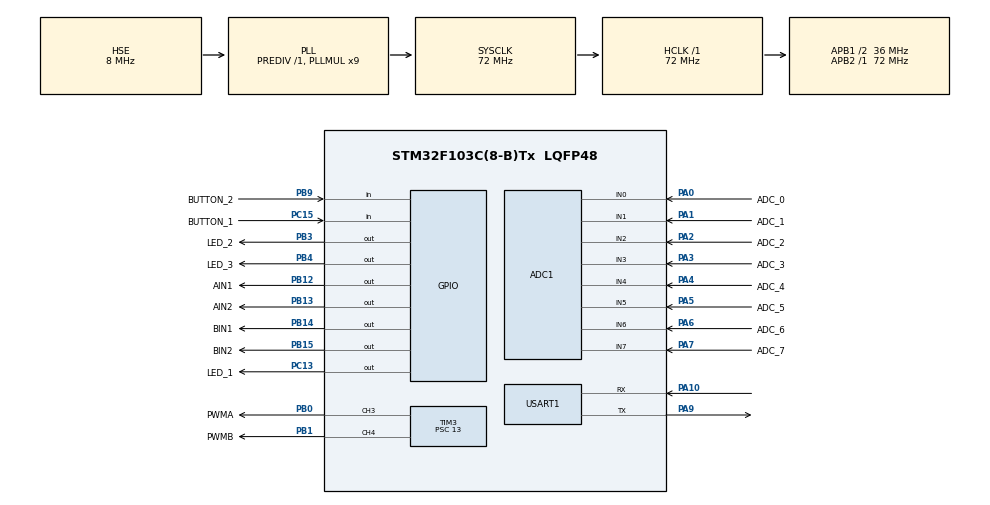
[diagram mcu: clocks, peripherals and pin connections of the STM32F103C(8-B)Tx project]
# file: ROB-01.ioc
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ADC1.Channel-0\#ChannelRegularConversion=ADC_CHANNEL_0
ADC1.ContinuousConvMode=DISABLE
ADC1.NbrOfConversion=1
ADC1.NbrOfConversionFlag=1
ADC1.Rank-0\#ChannelRegularConversion=1
ADC1.SamplingTime-0\#ChannelRegularConversion=ADC_SAMPLETIME_55CYCLES_5
ADC1.master=1
Mcu.Family=STM32F1
Mcu.Name=STM32F103C(8-B)Tx
Mcu.Package=LQFP48
NVIC.PriorityGroup=NVIC_PRIORITYGROUP_4
PA0-WKUP.GPIO_Label=ADC_0
PA0-WKUP.Signal=ADCx_IN0
PA1.GPIO_Label=ADC_1
PA1.Signal=ADCx_IN1
PA10.Mode=Asynchronous
PA10.Signal=USART1_RX
PA13.Mode=Serial_Wire
PA13.Signal=SYS_JTMS-SWDIO
PA14.Mode=Serial_Wire
PA14.Signal=SYS_JTCK-SWCLK
PA2.GPIO_Label=ADC_2
PA2.Signal=ADCx_IN2
PA3.GPIO_Label=ADC_3
PA3.Signal=ADCx_IN3
PA4.GPIO_Label=ADC_4
PA4.Signal=ADCx_IN4
PA5.GPIO_Label=ADC_5
PA5.Signal=ADCx_IN5
PA6.GPIO_Label=ADC_6
PA6.Signal=ADCx_IN6
PA7.GPIO_Label=ADC_7
PA7.Signal=ADCx_IN7
PA9.Mode=Asynchronous
PA9.Signal=USART1_TX
PB0.GPIO_Label=PWMA
PB0.Signal=S_TIM3_CH3
PB1.GPIO_Label=PWMB
PB1.Signal=S_TIM3_CH4
PB12.GPIO_Label=AIN1
PB12.Signal=GPIO_Output
PB13.GPIO_Label=AIN2
PB13.Signal=GPIO_Output
PB14.GPIO_Label=BIN1
PB14.Signal=GPIO_Output
PB15.GPIO_Label=BIN2
PB15.Signal=GPIO_Output
PB3.GPIO_Label=LED_2
PB3.Signal=GPIO_Output
PB4.GPIO_Label=LED_3
PB4.Signal=GPIO_Output
PB9.GPIO_Label=BUTTON_2
PB9.GPIO_PuPd=GPIO_PULLUP
PB9.Signal=GPIO_Input
PC13-TAMPER-RTC.GPIO_Label=LED_1
PC13-TAMPER-RTC.Signal=GPIO_Output
PC15-OSC32_OUT.GPIO_Label=BUTTON_1
PC15-OSC32_OUT.GPIO_PuPd=GPIO_PULLUP
PC15-OSC32_OUT.Signal=GPIO_Input
PD0-OSC_IN.Mode=HSE-External-Oscillator
PD0-OSC_IN.Signal=RCC_OSC_IN
PD1-OSC_OUT.Mode=HSE-External-Oscillator
PD1-OSC_OUT.Signal=RCC_OSC_OUT
ProjectManager.HeapSize=0x200
ProjectManager.StackSize=0x400
ProjectManager.TargetToolchain=STM32CubeIDE
RCC.ADCPresc=RCC_ADCPCLK2_DIV6
RCC.AHBFreq_Value=72000000
RCC.APB1CLKDivider=RCC_HCLK_DIV2
RCC.APB1Freq_Value=36000000
RCC.APB1TimFreq_Value=72000000
RCC.APB2Freq_Value=72000000
RCC.APB2TimFreq_Value=72000000
RCC.HCLKFreq_Value=72000000
RCC.PLLMUL=RCC_PLL_MUL9
RCC.PLLSourceVirtual=RCC_PLLSOURCE_HSE
RCC.SYSCLKFreq_VALUE=72000000
RCC.SYSCLKSource=RCC_SYSCLKSOURCE_PLLCLK
RCC.USBFreq_Value=72000000
SH.ADCx_IN0.0=ADC1_IN0,IN0
SH.ADCx_IN1.0=ADC1_IN1,IN1
SH.ADCx_IN2.0=ADC1_IN2,IN2
SH.ADCx_IN3.0=ADC1_IN3,IN3
SH.ADCx_IN4.0=ADC1_IN4,IN4
SH.ADCx_IN5.0=ADC1_IN5,IN5
SH.ADCx_IN6.0=ADC1_IN6,IN6
SH.ADCx_IN7.0=ADC1_IN7,IN7
SH.S_TIM3_CH3.0=TIM3_CH3,PWM Generation3 CH3
SH.S_TIM3_CH4.0=TIM3_CH4,PWM Generation4 CH4
TIM3.Channel-PWM\ Generation3\ CH3=TIM_CHANNEL_3
TIM3.Channel-PWM\ Generation4\ CH4=TIM_CHANNEL_4
TIM3.Period=255
TIM3.Prescaler=13
USART1.VirtualMode=VM_ASYNC
board=custom

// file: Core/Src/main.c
/* USER CODE BEGIN Header */
/**
  ******************************************************************************
  * @file           : main.c
  * @brief          : Main program body
  ******************************************************************************
  * @attention
  *
  * Copyright (c) 2026 STMicroelectronics.
  * All rights reserved.
  *
  * This software is licensed under terms that can be found in the LICENSE file
  * in the root directory of this software component.
  * If no LICENSE file comes with this software, it is provided AS-IS.
  *
  ******************************************************************************
  */
/* USER CODE END Header */
#include "main.h"
#include "adc.h"
#include "tim.h"
#include "usart.h"
#include "gpio.h"
#include <stdbool.h>
#include <stdio.h>
#include <string.h>

void SystemClock_Config(void);

/* USER CODE BEGIN 0 */

/*
 * STRUCUTRE:
 * define MACROS
 * setup peripherals
 * read sensors values
 * PD control
 * handle error or finish
 */
extern UART_HandleTypeDef huart1;

#define NUM_SENSORS 8
#define NUM_SAMPLES 6
#define LINE_THRESHOLD 500
#define MIDDLE_POS 4500
#define Kp 0.01
#define Kd 0.2
#define SPEED 0
#define MAX_OUT_TIME_MS 10
#define OUT_OUTTER_SPEED 255
#define OUT_INNER_SPEED -255
#define FINISH_LINE_COUNT 6

uint16_t sensor_values[NUM_SENSORS];
const uint32_t adc_channels[NUM_SENSORS] = { ADC_CHANNEL_0, ADC_CHANNEL_1, ADC_CHANNEL_2, ADC_CHANNEL_3, ADC_CHANNEL_4, ADC_CHANNEL_5, ADC_CHANNEL_6, ADC_CHANNEL_7 };
uint16_t arr_max;
bool is_running = false;
uint32_t start_time;
uint32_t current_time;
uint32_t out_start_time;
uint32_t race_elapsed_time;
bool is_on_line = false;
int16_t error;
int16_t previous_error;
uint8_t last_detected_side;

// FUNCS

int __io_putchar(int ch);
uint16_t ADC_Read_Channel(uint32_t channel);
void get_raw_adc_values(void);
void read_adc_sensors(void);
uint16_t read_line(void);
void set_motors(int pwma_value, int pwmb_value);
bool at_finish_line(void);

/* USER CODE END 0 */

int main(void)
{

  /* MCU Configuration--------------------------------------------------------*/

  /* Reset of all peripherals, Initializes the Flash interface and the Systick. */
  HAL_Init();

  /* Configure the system clock */
  SystemClock_Config();

  /* Initialize all configured peripherals */
  MX_GPIO_Init();
  MX_ADC1_Init();
  MX_USART1_UART_Init();
  MX_TIM3_Init();

  /* Infinite loop */
  /* USER CODE BEGIN WHILE */
  HAL_ADCEx_Calibration_Start(&hadc1);
  HAL_TIM_PWM_Start(&htim3, TIM_CHANNEL_3);
  HAL_TIM_PWM_Start(&htim3, TIM_CHANNEL_4);
  arr_max = __HAL_TIM_GET_AUTORELOAD(&htim3); // e.g. 999

  // setup
  HAL_GPIO_WritePin(GPIOC, GPIO_PIN_13, GPIO_PIN_SET); // power led show mcu is on
  HAL_GPIO_WritePin(GPIOB, GPIO_PIN_3, GPIO_PIN_RESET);

  // start up sequence
  HAL_GPIO_WritePin(GPIOB, GPIO_PIN_4, GPIO_PIN_SET);
  HAL_Delay(1500);
  HAL_GPIO_WritePin(GPIOB, GPIO_PIN_4, GPIO_PIN_RESET);

  while(HAL_GPIO_ReadPin(GPIOC, GPIO_PIN_15)) {};

  HAL_Delay(250);

  // calibrate sensors
  HAL_GPIO_WritePin(GPIOB, GPIO_PIN_4, GPIO_PIN_SET);
  while(HAL_GPIO_ReadPin(GPIOC, GPIO_PIN_15)) {
	  HAL_GPIO_TogglePin(GPIOB, GPIO_PIN_4);
	  HAL_Delay(50);
	  //calibrate_sensors();
  };

  HAL_Delay(250);

  HAL_GPIO_WritePin(GPIOB, GPIO_PIN_3, GPIO_PIN_RESET);
  HAL_GPIO_WritePin(GPIOB, GPIO_PIN_4, GPIO_PIN_RESET);

  while(HAL_GPIO_ReadPin(GPIOC, GPIO_PIN_15)) {};

  is_running = true;
  start_time = HAL_GetTick();
  current_time = start_time;
  out_start_time = start_time;

  while (1)
  {

	  // run stright until reach starting point
	  uint32_t race_start_time = HAL_GetTick();
	  while(is_running){
		  HAL_GPIO_WritePin(GPIOB, GPIO_PIN_4, GPIO_PIN_SET);

		  current_time = HAL_GetTick();
		  race_elapsed_time = current_time - race_start_time;
		  uint16_t pos = read_line();

		  error = MIDDLE_POS - pos;
		  int16_t delta_error = error - previous_error;
		  previous_error = error;

		  if(is_on_line){
			  if(sensor_values[0] < LINE_THRESHOLD || sensor_values[1] < LINE_THRESHOLD){
				  last_detected_side = 0; // right side
			  } else if (sensor_values[NUM_SENSORS - 1] < LINE_THRESHOLD || sensor_values[NUM_SENSORS - 2] < LINE_THRESHOLD){
				  last_detected_side = 1;
			  }
			  if(at_finish_line() && race_elapsed_time > 1000){
			  	  is_running = false;
			  }

			  int P = error*Kp;
			  int D = delta_error*Kd;

			  int control_signal = P + D;

			  int pwma_value = SPEED + control_signal;
			  int pwmb_value = SPEED - control_signal;
			  printf("signal: %d | pwma: %d | pwmb: %d \r\n", control_signal, pwma_value, pwmb_value);

			  /*
			  if (pwma_value > 255) pwma_value = 255;
			  if (pwma_value < -255) pwma_value = -255;

			  if (pwmb_value > 255) pwmb_value = 255;
			  if (pwmb_value < -255) pwmb_value = -255;
			  */
			  set_motors(pwma_value, pwmb_value);
			  out_start_time = current_time;
		  } else { // out of line method
			  int out_elapsed_time = current_time - out_start_time;

			  if(out_elapsed_time >= MAX_OUT_TIME_MS){
				  is_running = false;
			  }
			  //  set motors in function of last detected side before out
			  if(last_detected_side == 0){ // TURN LEFT
				  set_motors(255, 0);
			  }else{ // TURN RIGHT
				  set_motors(0, 255);
			  }
		  }

	  }
	  set_motors(-255,-255);
	  HAL_GPIO_WritePin(GPIOB, GPIO_PIN_4, GPIO_PIN_RESET);
	  HAL_Delay(100);
	  set_motors(0,0);

	  HAL_Delay(1000);
	  while(1){
		  HAL_GPIO_WritePin(GPIOB, GPIO_PIN_3, GPIO_PIN_SET);
		  HAL_GPIO_WritePin(GPIOB, GPIO_PIN_4, GPIO_PIN_SET);
		  HAL_Delay(250);
		  HAL_GPIO_WritePin(GPIOB, GPIO_PIN_3, GPIO_PIN_RESET);
		  HAL_GPIO_WritePin(GPIOB, GPIO_PIN_4, GPIO_PIN_RESET);
		  HAL_Delay(1000);
	  }

    /* USER CODE END WHILE */

  }
}

void SystemClock_Config(void)
{
  RCC_OscInitTypeDef RCC_OscInitStruct = {0};
  RCC_ClkInitTypeDef RCC_ClkInitStruct = {0};
  RCC_PeriphCLKInitTypeDef PeriphClkInit = {0};

  /** Initializes the RCC Oscillators according to the specified parameters
  * in the RCC_OscInitTypeDef structure.
  */
  RCC_OscInitStruct.OscillatorType = RCC_OSCILLATORTYPE_HSE;
  RCC_OscInitStruct.HSEState = RCC_HSE_ON;
  RCC_OscInitStruct.HSEPredivValue = RCC_HSE_PREDIV_DIV1;
  RCC_OscInitStruct.HSIState = RCC_HSI_ON;
  RCC_OscInitStruct.PLL.PLLState = RCC_PLL_ON;
  RCC_OscInitStruct.PLL.PLLSource = RCC_PLLSOURCE_HSE;
  RCC_OscInitStruct.PLL.PLLMUL = RCC_PLL_MUL9;
  if (HAL_RCC_OscConfig(&RCC_OscInitStruct) != HAL_OK)
  {
    Error_Handler();
  }

  /** Initializes the CPU, AHB and APB buses clocks
  */
  RCC_ClkInitStruct.ClockType = RCC_CLOCKTYPE_HCLK|RCC_CLOCKTYPE_SYSCLK
                              |RCC_CLOCKTYPE_PCLK1|RCC_CLOCKTYPE_PCLK2;
  RCC_ClkInitStruct.SYSCLKSource = RCC_SYSCLKSOURCE_PLLCLK;
  RCC_ClkInitStruct.AHBCLKDivider = RCC_SYSCLK_DIV1;
  RCC_ClkInitStruct.APB1CLKDivider = RCC_HCLK_DIV2;
  RCC_ClkInitStruct.APB2CLKDivider = RCC_HCLK_DIV1;

  if (HAL_RCC_ClockConfig(&RCC_ClkInitStruct, FLASH_LATENCY_2) != HAL_OK)
  {
    Error_Handler();
  }
  PeriphClkInit.PeriphClockSelection = RCC_PERIPHCLK_ADC;
  PeriphClkInit.AdcClockSelection = RCC_ADCPCLK2_DIV6;
  if (HAL_RCCEx_PeriphCLKConfig(&PeriphClkInit) != HAL_OK)
  {
    Error_Handler();
  }
}

/* USER CODE BEGIN 4 */
int __io_putchar(int ch) {
	HAL_UART_Transmit(&huart1, (uint8_t *)&ch, 1U, 100U);
	return ch;
}
uint16_t ADC_Read_Channel(uint32_t channel)
{
    ADC_ChannelConfTypeDef sConfig = {0};

    sConfig.Channel = channel;
    sConfig.Rank = ADC_REGULAR_RANK_1;
    sConfig.SamplingTime = ADC_SAMPLETIME_55CYCLES_5;

    if (HAL_ADC_ConfigChannel(&hadc1, &sConfig) != HAL_OK) {
        Error_Handler();
    }

    HAL_ADC_Start(&hadc1);
    HAL_ADC_PollForConversion(&hadc1, 10);
    uint16_t adc_val = HAL_ADC_GetValue(&hadc1);
    HAL_ADC_Stop(&hadc1);

    return adc_val;
}
void get_raw_adc_values(void){
	for(uint8_t i = 0; i < NUM_SENSORS; i++) {
		sensor_values[i] = ADC_Read_Channel(adc_channels[i]);
	}
}
void read_adc_sensors(void){
	uint32_t sum_sensor_values[NUM_SENSORS] = {0};
	for (uint8_t s = 0; s < NUM_SAMPLES; s++) {
		get_raw_adc_values();
		for (uint8_t i = 0; i < NUM_SENSORS; i++) {
			sum_sensor_values[i] += sensor_values[i];
		}
	}
	for (uint8_t i = 0; i < NUM_SENSORS; i++) {
		sensor_values[i] = (uint16_t)((sum_sensor_values[i] + (NUM_SAMPLES / 2U)) / NUM_SAMPLES);
	}
}
uint16_t read_line(void){
	uint16_t pos = 0;
	uint8_t active = 0;
	is_on_line = false;

	read_adc_sensors();

	for(uint8_t i = 0; i < NUM_SENSORS; i++){
		if(sensor_values[i] < LINE_THRESHOLD){
			is_on_line = true;
			active++;
			pos += (i + 1) * 1000;
		}
	}
	if(active == 0){return 4500;}
	return pos/active;
}
void set_motors(int pwma_value, int pwmb_value){
	  if(pwma_value < 0){
		  pwma_value = 0;
	  }
	  if(pwmb_value < 0 ){
		  pwmb_value = 0;
	  }
	  __HAL_TIM_SET_COMPARE(&htim3, TIM_CHANNEL_3, pwma_value); // PWMA
	  __HAL_TIM_SET_COMPARE(&htim3, TIM_CHANNEL_4, pwmb_value); // PWMB
	  // A RIGHT
	  HAL_GPIO_WritePin(GPIOB, GPIO_PIN_12, GPIO_PIN_SET);
	  HAL_GPIO_WritePin(GPIOB, GPIO_PIN_13, GPIO_PIN_RESET);
	  // B LEFT
	  HAL_GPIO_WritePin(GPIOB, GPIO_PIN_14, GPIO_PIN_SET);
	  HAL_GPIO_WritePin(GPIOB, GPIO_PIN_15, GPIO_PIN_RESET);
}
bool at_finish_line(void){
	uint8_t line_count = 0;
	for(uint8_t i = 0; i < NUM_SENSORS; i++){
		if(sensor_values[i + 1] < LINE_THRESHOLD){
			line_count++;
		}
	}
	return line_count >= FINISH_LINE_COUNT;
}

/* USER CODE END 4 */

void Error_Handler(void)
{
  __disable_irq();
  while (1)
  {
  }
}
